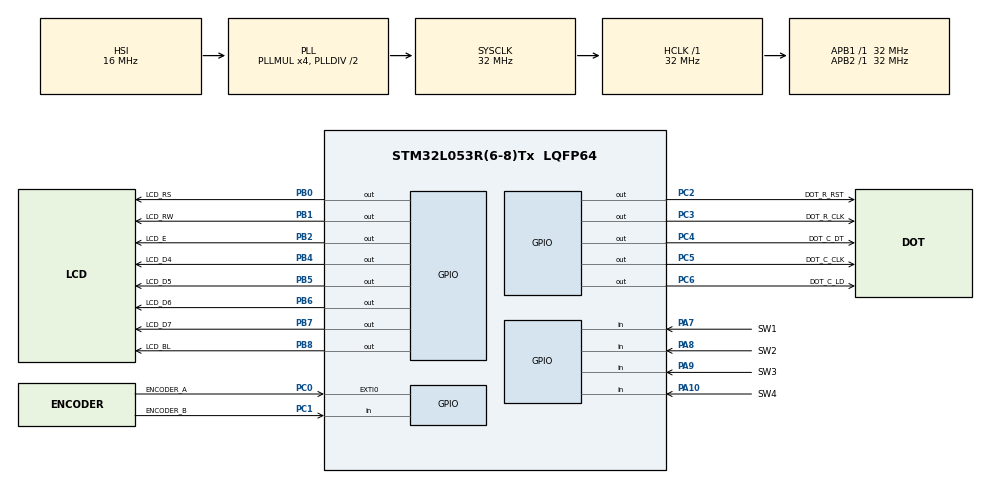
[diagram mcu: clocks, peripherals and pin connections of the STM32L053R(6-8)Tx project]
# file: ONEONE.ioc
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Mcu.Family=STM32L0
Mcu.Name=STM32L053R(6-8)Tx
Mcu.Package=LQFP64
NVIC.EXTI0_1_IRQn=true\:0\:0\:false\:false\:true\:true\:true
NVIC.FLASH_IRQn=true\:0\:0\:false\:false\:true\:true\:true
NVIC.PVD_IRQn=true\:0\:0\:false\:false\:true\:true\:true
NVIC.RCC_CRS_IRQn=true\:0\:0\:false\:false\:true\:true\:false
NVIC.TIM6_DAC_IRQn=true\:0\:0\:false\:false\:true\:true\:true
PA10.GPIO_Label=SW4
PA10.Signal=GPIO_Input
PA7.GPIO_Label=SW1
PA7.Signal=GPIO_Input
PA8.GPIO_Label=SW2
PA8.Signal=GPIO_Input
PA9.GPIO_Label=SW3
PA9.Signal=GPIO_Input
PB0.GPIO_Label=LCD_RS
PB0.Signal=GPIO_Output
PB1.GPIO_Label=LCD_RW
PB1.Signal=GPIO_Output
PB2.GPIO_Label=LCD_E
PB2.Signal=GPIO_Output
PB4.GPIO_Label=LCD_D4
PB4.Signal=GPIO_Output
PB5.GPIO_Label=LCD_D5
PB5.Signal=GPIO_Output
PB6.GPIO_Label=LCD_D6
PB6.Signal=GPIO_Output
PB7.GPIO_Label=LCD_D7
PB7.Signal=GPIO_Output
PB8.GPIO_Label=LCD_BL
PB8.Signal=GPIO_Output
PC0.GPIO_Label=ENCODER_A
PC0.Signal=GPXTI0
PC1.GPIO_Label=ENCODER_B
PC1.Signal=GPIO_Input
PC2.GPIO_Label=DOT_R_RST
PC2.Signal=GPIO_Output
PC3.GPIO_Label=DOT_R_CLK
PC3.Signal=GPIO_Output
PC4.GPIO_Label=DOT_C_DT
PC4.Signal=GPIO_Output
PC5.GPIO_Label=DOT_C_CLK
PC5.Signal=GPIO_Output
PC6.GPIO_Label=DOT_C_LD
PC6.Signal=GPIO_Output
ProjectManager.HeapSize=0x200
ProjectManager.StackSize=0x400
ProjectManager.TargetToolchain=MDK-ARM V5
RCC.AHBFreq_Value=32000000
RCC.APB1Freq_Value=32000000
RCC.APB1TimFreq_Value=32000000
RCC.APB2Freq_Value=32000000
RCC.APB2TimFreq_Value=32000000
RCC.HCLKFreq_Value=32000000
RCC.HSE_VALUE=8000000
RCC.HSI16_VALUE=16000000
RCC.HSI48_VALUE=48000000
RCC.HSI_VALUE=16000000
RCC.LSE_VALUE=32768
RCC.MSI_VALUE=2097000
RCC.PLLMUL=RCC_PLLMUL_4
RCC.SYSCLKFreq_VALUE=32000000
RCC.SYSCLKSource=RCC_SYSCLKSOURCE_PLLCLK
RCC.VCOOutputFreq_Value=64000000
TIM6.Period=999
TIM6.Prescaler=31
VP_TIM6_VS_ClockSourceINT.Mode=Enable_Timer
board=custom

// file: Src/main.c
/* USER CODE BEGIN Header */
/**
  ******************************************************************************
  * @file           : main.c
  * @brief          : Main program body
  ******************************************************************************
  * @attention
  *
  * <h2><center>&copy; Copyright (c) 2020 STMicroelectronics.
  * All rights reserved.</center></h2>
  *
  * This software component is licensed by ST under BSD 3-Clause license,
  * the "License"; You may not use this file except in compliance with the
  * License. You may obtain a copy of the License at:
  *                        opensource.org/licenses/BSD-3-Clause
  *
  ******************************************************************************
  */
/* USER CODE END Header */

#include "main.h"

/* USER CODE BEGIN Includes */
#include <string.h>
#include <stdio.h>

#include "dotmatrix_8x8.h"
#include "lcd_1602.h"
/* USER CODE END Includes */

TIM_HandleTypeDef htim6;

void SystemClock_Config(void);
static void MX_GPIO_Init(void);
static void MX_TIM6_Init(void);

/* USER CODE BEGIN 0 */
 uint8_t myfont[37][8]={

		{0x70>>2,0x88>>2,0x98>>2,0xA8>>2,0xC8>>2,0x88>>2,0x88>>2,0x70>>2}, //0
		{0x20>>2,0x60>>2,0x20>>2,0x20>>2,0x20>>2,0x20>>2,0x20>>2,0x70>>2}, //1
		{0x70>>2,0x88>>2,0x08>>2,0x10>>2,0x20>>2,0x40>>2,0x80>>2,0xF8>>2}, //2
		{0x70>>2,0x88>>2,0x08>>2,0x30>>2,0x08>>2,0x08>>2,0x88>>2,0x70>>2}, //3
		{0x10>>2,0x30>>2,0x50>>2,0x90>>2,0xF8>>2,0x10>>2,0x10>>2,0x10>>2}, //4
		{0xF8>>2,0x80>>2,0x80>>2,0xF0>>2,0x08>>2,0x08>>2,0x88>>2,0x70>>2}, //5
		{0x18>>2,0x20>>2,0x40>>2,0x80>>2,0xF0>>2,0x88>>2,0x88>>2,0x70>>2}, //6
		{0xF8>>2,0x08>>2,0x10>>2,0x20>>2,0x40>>2,0x40>>2,0x40>>2,0x40>>2}, //7
		{0x70>>2,0x88>>2,0x88>>2,0x70>>2,0x88>>2,0x88>>2,0x88>>2,0x70>>2}, //8
		{0x70>>2,0x88>>2,0x88>>2,0x88>>2,0x78>>2,0x08>>2,0x10>>2,0x60>>2}, //9
		{0x70>>2,0x88>>2,0x88>>2,0x88>>2,0xF8>>2,0x88>>2,0x88>>2,0x88>>2}, // A   ,10
		{0xF0>>2,0x88>>2,0x88>>2,0xF0>>2,0x88>>2,0x88>>2,0x88>>2,0xF0>>2}, // B   ,11
		{0x70>>2,0x88>>2,0x80>>2,0x80>>2,0x80>>2,0x80>>2,0x88>>2,0x70>>2}, // C		,12
		{0xE0>>2,0x90>>2,0x88>>2,0x88>>2,0x88>>2,0x88>>2,0x90>>2,0xE0>>2}, // D		,13
		{0xF8>>2,0x80>>2,0x80>>2,0xF0>>2,0x80>>2,0x80>>2,0x80>>2,0xF8>>2}, // E		,14
		{0xF8>>2,0x80>>2,0x80>>2,0xF0>>2,0x80>>2,0x80>>2,0x80>>2,0x80>>2}, // F		,15
		{0x70>>2,0x88>>2,0x80>>2,0x80>>2,0xB8>>2,0x88>>2,0x88>>2,0x70>>2}, // G		,16
		{0x88>>2,0x88>>2,0x88>>2,0xF8>>2,0x88>>2,0x88>>2,0x88>>2,0x88>>2}, // H		,17
		{0xF8>>2,0x20>>2,0x20>>2,0x20>>2,0x20>>2,0x20>>2,0x20>>2,0xF8>>2}, // I		,18
		{0x08>>2,0x08>>2,0x08>>2,0x08>>2,0x08>>2,0x88>>2,0x88>>2,0x70>>2}, // J		,19
		{0x88>>2,0x90>>2,0xA0>>2,0xC0>>2,0xC0>>2,0xA0>>2,0x90>>2,0x88>>2}, // K		,20
		{0x80>>2,0x80>>2,0x80>>2,0x80>>2,0x80>>2,0x80>>2,0x80>>2,0xF8>>2}, // L		,21
		{0x88>>2,0xD8>>2,0xA8>>2,0xA8>>2,0x88>>2,0x88>>2,0x88>>2,0x88>>2}, // M		,22
		{0x88>>2,0xC8>>2,0xA8>>2,0xA8>>2,0x98>>2,0x88>>2,0x88>>2,0x88>>2}, // N		,23
		{0x70>>2,0x88>>2,0x88>>2,0x88>>2,0x88>>2,0x88>>2,0x88>>2,0x70>>2}, // O		,24
		{0xF0>>2,0x88>>2,0x88>>2,0x88>>2,0xF0>>2,0x80>>2,0x80>>2,0x80>>2}, // P		,25
		{0x70>>2,0x88>>2,0x88>>2,0x88>>2,0x88>>2,0xA8>>2,0x90>>2,0x68>>2}, // Q		,26
		{0xF0>>2,0x88>>2,0x88>>2,0x88>>2,0xF0>>2,0xA0>>2,0x90>>2,0x88>>2}, // R		,27
		{0x78>>2,0x80>>2,0x80>>2,0x70>>2,0x08>>2,0x08>>2,0x08>>2,0xF0>>2}, // S		,28
		{0xF8>>2,0x20>>2,0x20>>2,0x20>>2,0x20>>2,0x20>>2,0x20>>2,0x20>>2}, // T		,29
		{0x88>>2,0x88>>2,0x88>>2,0x88>>2,0x88>>2,0x88>>2,0x88>>2,0x70>>2}, // U   ,30
		{0x88>>2,0x88>>2,0x88>>2,0x88>>2,0x50>>2,0x50>>2,0x20>>2,0x20>>2}, // V		,31
		{0x88>>2,0x88>>2,0x88>>2,0x88>>2,0xA8>>2,0xA8>>2,0xD8>>2,0x88>>2}, // W		,32
		{0x88>>2,0x88>>2,0x50>>2,0x20>>2,0x20>>2,0x50>>2,0x88>>2,0x88>>2}, // X		,33
		{0x88>>2,0x88>>2,0x88>>2,0x50>>2,0x20>>2,0x20>>2,0x20>>2,0x20>>2}, // Y		,34
		{0xF8>>2,0x08>>2,0x10>>2,0x20>>2,0x20>>2,0x40>>2,0x80>>2,0xF8>>2}, // Z 	,35
    {0x00>>2,0x00>>2,0x00>>2,0x00>>2,0x00>>2,0x00>>2,0x00>>2,0x00>>2}, //   	,36
};

uint8_t buff[8];

#define CHAR_TO_FONT_INDEX(a) (a >= '0' && a <= '9' ? a - '0' : a - 'A' + 10)
void DotMatrixTextMove(char *text) {
  for(int i=0;i<8;i++) {
    for(int x=0;x<8;x++) {
      buff[x] = 0x0;
      buff[x] |= myfont[CHAR_TO_FONT_INDEX(text[0])][x]>>(8 - i);
    }
    dotmatrix_put(buff);
    HAL_Delay(100);
  }
  unsigned int slen = strlen((const char*)text);
  for(int i=0;i<(slen *  8);i++) {
    uint8_t text_index = i / 8;
    uint8_t font1 = CHAR_TO_FONT_INDEX(text[text_index]);
    uint8_t font2 = CHAR_TO_FONT_INDEX((text_index + 1 > (slen - 1)) ? 36 : text[text_index + 1]);
    for(int x=0;x<8;x++) {
      buff[x] = myfont[font1][x]<<(i%8);
      buff[x] |= myfont[font2][x]>>(8 - (i%8));
    }
    dotmatrix_put(buff);
    HAL_Delay(100);
  }
}

int counter = 0;

void HAL_GPIO_EXTI_Callback(uint16_t GPIO_Pin) {
  if (GPIO_Pin == ENCODER_A_Pin) {
		if (HAL_GPIO_ReadPin(ENCODER_B_GPIO_Port, ENCODER_B_Pin) == 0) {
			counter++;
		} else {
			counter--;
		}
	}
}
/* USER CODE END 0 */

int main(void)
{

  /* MCU Configuration--------------------------------------------------------*/

  /* Reset of all peripherals, Initializes the Flash interface and the Systick. */
  HAL_Init();

  /* Configure the system clock */
  SystemClock_Config();

  /* Initialize all configured peripherals */
  MX_GPIO_Init();
  MX_TIM6_Init();
  /* USER CODE BEGIN 2 */
  HAL_TIM_Base_Start_IT(&htim6);
  lcd_init();
  lcd_bl(1);
  /* USER CODE END 2 */

  /* Infinite loop */
  /* USER CODE BEGIN WHILE */
  while (1)
  {
    if (HAL_GPIO_ReadPin(GPIOA, GPIO_PIN_7) == 0) {
      while(HAL_GPIO_ReadPin(GPIOA, GPIO_PIN_7) == 0) HAL_Delay(10);
      DotMatrixTextMove("TASK1");
      lcd_gotoxy(0, 0);
      lcd_puts("  World skills  ");
      lcd_gotoxy(0, 1);
      lcd_puts("  Thailand 2020 ");
      HAL_Delay(4000);
      lcd_clr();
      while(1) {
        lcd_gotoxy(0, 0);

        char buffText[20];
        sprintf(buffText, "Count = %d     ", counter);
        lcd_puts(buffText);
        HAL_Delay(500);
      }
    }

    /* USER CODE END WHILE */

  }
}

void SystemClock_Config(void)
{
  RCC_OscInitTypeDef RCC_OscInitStruct = {0};
  RCC_ClkInitTypeDef RCC_ClkInitStruct = {0};

  /** Configure the main internal regulator output voltage
  */
  __HAL_PWR_VOLTAGESCALING_CONFIG(PWR_REGULATOR_VOLTAGE_SCALE1);
  /** Initializes the CPU, AHB and APB busses clocks
  */
  RCC_OscInitStruct.OscillatorType = RCC_OSCILLATORTYPE_HSI;
  RCC_OscInitStruct.HSIState = RCC_HSI_ON;
  RCC_OscInitStruct.HSICalibrationValue = RCC_HSICALIBRATION_DEFAULT;
  RCC_OscInitStruct.PLL.PLLState = RCC_PLL_ON;
  RCC_OscInitStruct.PLL.PLLSource = RCC_PLLSOURCE_HSI;
  RCC_OscInitStruct.PLL.PLLMUL = RCC_PLLMUL_4;
  RCC_OscInitStruct.PLL.PLLDIV = RCC_PLLDIV_2;
  if (HAL_RCC_OscConfig(&RCC_OscInitStruct) != HAL_OK)
  {
    Error_Handler();
  }
  /** Initializes the CPU, AHB and APB busses clocks
  */
  RCC_ClkInitStruct.ClockType = RCC_CLOCKTYPE_HCLK|RCC_CLOCKTYPE_SYSCLK
                              |RCC_CLOCKTYPE_PCLK1|RCC_CLOCKTYPE_PCLK2;
  RCC_ClkInitStruct.SYSCLKSource = RCC_SYSCLKSOURCE_PLLCLK;
  RCC_ClkInitStruct.AHBCLKDivider = RCC_SYSCLK_DIV1;
  RCC_ClkInitStruct.APB1CLKDivider = RCC_HCLK_DIV1;
  RCC_ClkInitStruct.APB2CLKDivider = RCC_HCLK_DIV1;

  if (HAL_RCC_ClockConfig(&RCC_ClkInitStruct, FLASH_LATENCY_1) != HAL_OK)
  {
    Error_Handler();
  }
}

static void MX_TIM6_Init(void)
{

  TIM_MasterConfigTypeDef sMasterConfig = {0};

  htim6.Instance = TIM6;
  htim6.Init.Prescaler = 31;
  htim6.Init.CounterMode = TIM_COUNTERMODE_UP;
  htim6.Init.Period = 999;
  htim6.Init.AutoReloadPreload = TIM_AUTORELOAD_PRELOAD_DISABLE;
  if (HAL_TIM_Base_Init(&htim6) != HAL_OK)
  {
    Error_Handler();
  }
  sMasterConfig.MasterOutputTrigger = TIM_TRGO_RESET;
  sMasterConfig.MasterSlaveMode = TIM_MASTERSLAVEMODE_DISABLE;
  if (HAL_TIMEx_MasterConfigSynchronization(&htim6, &sMasterConfig) != HAL_OK)
  {
    Error_Handler();
  }

}

static void MX_GPIO_Init(void)
{
  GPIO_InitTypeDef GPIO_InitStruct = {0};

  /* GPIO Ports Clock Enable */
  __HAL_RCC_GPIOC_CLK_ENABLE();
  __HAL_RCC_GPIOA_CLK_ENABLE();
  __HAL_RCC_GPIOB_CLK_ENABLE();

  /*Configure GPIO pin Output Level */
  HAL_GPIO_WritePin(GPIOC, DOT_R_RST_Pin|DOT_R_CLK_Pin|DOT_C_DT_Pin|DOT_C_CLK_Pin
                          |DOT_C_LD_Pin, GPIO_PIN_RESET);

  /*Configure GPIO pin Output Level */
  HAL_GPIO_WritePin(GPIOB, LCD_RS_Pin|LCD_RW_Pin|LCD_E_Pin|LCD_D4_Pin
                          |LCD_D5_Pin|LCD_D6_Pin|LCD_D7_Pin|LCD_BL_Pin, GPIO_PIN_RESET);

  /*Configure GPIO pin : ENCODER_A_Pin */
  GPIO_InitStruct.Pin = ENCODER_A_Pin;
  GPIO_InitStruct.Mode = GPIO_MODE_IT_RISING;
  GPIO_InitStruct.Pull = GPIO_NOPULL;
  HAL_GPIO_Init(ENCODER_A_GPIO_Port, &GPIO_InitStruct);

  /*Configure GPIO pin : ENCODER_B_Pin */
  GPIO_InitStruct.Pin = ENCODER_B_Pin;
  GPIO_InitStruct.Mode = GPIO_MODE_INPUT;
  GPIO_InitStruct.Pull = GPIO_NOPULL;
  HAL_GPIO_Init(ENCODER_B_GPIO_Port, &GPIO_InitStruct);

  /*Configure GPIO pins : DOT_R_RST_Pin DOT_R_CLK_Pin DOT_C_DT_Pin DOT_C_CLK_Pin
                           DOT_C_LD_Pin */
  GPIO_InitStruct.Pin = DOT_R_RST_Pin|DOT_R_CLK_Pin|DOT_C_DT_Pin|DOT_C_CLK_Pin
                          |DOT_C_LD_Pin;
  GPIO_InitStruct.Mode = GPIO_MODE_OUTPUT_PP;
  GPIO_InitStruct.Pull = GPIO_NOPULL;
  GPIO_InitStruct.Speed = GPIO_SPEED_FREQ_LOW;
  HAL_GPIO_Init(GPIOC, &GPIO_InitStruct);

  /*Configure GPIO pins : SW1_Pin SW2_Pin SW3_Pin SW4_Pin */
  GPIO_InitStruct.Pin = SW1_Pin|SW2_Pin|SW3_Pin|SW4_Pin;
  GPIO_InitStruct.Mode = GPIO_MODE_INPUT;
  GPIO_InitStruct.Pull = GPIO_NOPULL;
  HAL_GPIO_Init(GPIOA, &GPIO_InitStruct);

  /*Configure GPIO pins : LCD_RS_Pin LCD_RW_Pin LCD_E_Pin LCD_D4_Pin
                           LCD_D5_Pin LCD_D6_Pin LCD_D7_Pin LCD_BL_Pin */
  GPIO_InitStruct.Pin = LCD_RS_Pin|LCD_RW_Pin|LCD_E_Pin|LCD_D4_Pin
                          |LCD_D5_Pin|LCD_D6_Pin|LCD_D7_Pin|LCD_BL_Pin;
  GPIO_InitStruct.Mode = GPIO_MODE_OUTPUT_PP;
  GPIO_InitStruct.Pull = GPIO_NOPULL;
  GPIO_InitStruct.Speed = GPIO_SPEED_FREQ_LOW;
  HAL_GPIO_Init(GPIOB, &GPIO_InitStruct);

  /* EXTI interrupt init*/
  HAL_NVIC_SetPriority(EXTI0_1_IRQn, 0, 0);
  HAL_NVIC_EnableIRQ(EXTI0_1_IRQn);

}

void Error_Handler(void)
{
}

/************************ (C) COPYRIGHT STMicroelectronics *****END OF FILE****/
